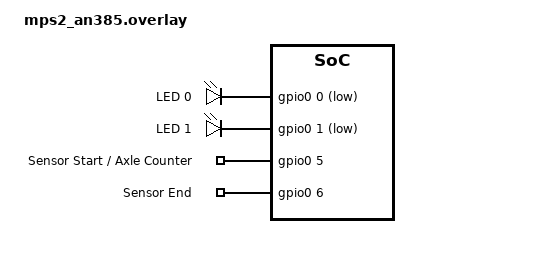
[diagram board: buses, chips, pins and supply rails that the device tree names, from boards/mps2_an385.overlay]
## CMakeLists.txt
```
# SPDX-License-Identifier: Apache-2.0

cmake_minimum_required(VERSION 3.20.0)

set(ZEPHYR_EXTRA_MODULES
    ${CMAKE_CURRENT_SOURCE_DIR}/camera_service
    CACHE STRING "" FORCE)

find_package(Zephyr REQUIRED HINTS $ENV{ZEPHYR_BASE})
project(atividades)

target_include_directories(app PRIVATE include)

target_sources(app PRIVATE 
    src/main.c
    src/sensor_thread.c
    src/display_thread.c
    src/traffic_sim.c
    src/utils.c
    src/infraction_log.c
)
```

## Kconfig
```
mainmenu "Radar Eletrônico com Classificação"

rsource "Kconfig.radar"
source "Kconfig.zephyr"
```

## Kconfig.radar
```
config RADAR_SENSOR_DISTANCE_MM
    int "Distance between sensors (mm)"
    default 5000
    help
      Distance between the two magnetic sensors in millimeters.

config RADAR_SPEED_LIMIT_LIGHT_KMH
    int "Speed limit for light vehicles (km/h)"
    default 60
    help
      Speed limit for vehicles classified as light.

config RADAR_SPEED_LIMIT_HEAVY_KMH
    int "Speed limit for heavy vehicles (km/h)"
    default 40
    help
      Speed limit for vehicles classified as heavy.

config RADAR_WARNING_THRESHOLD_PERCENT
    int "Warning threshold percentage"
    default 90
    range 0 100
    help
      Percentage of the speed limit that triggers a warning.

config RADAR_CAMERA_FAILURE_RATE_PERCENT
    int "Camera simulated failure rate (%)"
    default 10
    range 0 100
    help
      Probability of the simulated camera failing to read a plate.

config RADAR_QUEUE_DEPTH
    int "Message queue depth for radar queues"
    default 10
    range 1 128
    help
      Number of messages buffered in sensor and display queues.

config RADAR_INFRACTION_LOG_SIZE
    int "Ring buffer size for infractions"
    default 32
    range 1 512
    help
      Number of infraction records kept in memory.

config RADAR_AXLE_TIMEOUT_MS
    int "Axle counting timeout (ms)"
    default 1000
    range 100 10000
    help
      Timeout after last axle pulse to finalize a measurement.

config RADAR_TELEMETRY_INTERVAL_MS
    int "Telemetry logging interval (ms)"
    default 10000
    range 500 600000
    help
      Interval for periodic logging of counters and statistics.
```

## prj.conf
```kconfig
# General
CONFIG_LOG=y
CONFIG_LOG_MODE_IMMEDIATE=y
CONFIG_LOG_DEFAULT_LEVEL=3
CONFIG_MAIN_STACK_SIZE=4096
CONFIG_HEAP_MEM_POOL_SIZE=4096

# GPIO
CONFIG_GPIO=y

# Display
CONFIG_DISPLAY=y
CONFIG_DUMMY_DISPLAY=y

# ZBUS
CONFIG_ZBUS=y
CONFIG_ZBUS_LOG_LEVEL_INF=y
CONFIG_ZBUS_RUNTIME_OBSERVERS=y

# Random
CONFIG_TEST_RANDOM_GENERATOR=y

# Camera service
CONFIG_CAMERA_SERVICE=y

# Console/Printk
CONFIG_PRINTK=y
CONFIG_CBPRINTF_FP_SUPPORT=y

# Radar Project Configs
CONFIG_RADAR_SENSOR_DISTANCE_MM=5000
```

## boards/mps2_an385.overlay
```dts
#include <zephyr/dt-bindings/gpio/gpio.h>

/ {
    aliases {
        led0 = &led0;
		led1 = &led1;
        sensor0 = &sensor_start;
        sensor1 = &sensor_end;
    };

    leds {
		compatible = "gpio-leds";
		led0: led0 {
			gpios = <&gpio0 0 GPIO_ACTIVE_LOW>;
            label = "LED 0";
		};
		led1: led1 {
			gpios = <&gpio0 1 GPIO_ACTIVE_LOW>;
            label = "LED 1";
        };
    };

    /* Simulating sensors as buttons/keys for easy testing via QEMU monitor or just as GPIO inputs */
    gpio_keys {
        compatible = "gpio-keys";
        sensor_start: sensor_start {
            gpios = <&gpio0 5 GPIO_ACTIVE_HIGH>;
            label = "Sensor Start / Axle Counter";
        };
        sensor_end: sensor_end {
            gpios = <&gpio0 6 GPIO_ACTIVE_HIGH>;
            label = "Sensor End";
		};
    };

    dummy_display: dummy_display {
        compatible = "zephyr,dummy-dc";
        status = "okay";
        height = <20>;
        width = <20>;
	};
};
```

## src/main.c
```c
#include <zephyr/kernel.h>
#include <zephyr/logging/log.h>
#include <zephyr/zbus/zbus.h>
#include <string.h>
#include <zephyr/sys/atomic.h>
#include "common.h"
#include "threads.h"
#include <camera_service.h>
#include "infraction_log.h"

LOG_MODULE_REGISTER(main_control, LOG_LEVEL_INF);

/**
 * @brief Message Queue for Sensor Data
 */
K_MSGQ_DEFINE(sensor_msgq, sizeof(sensor_data_t), CONFIG_RADAR_QUEUE_DEPTH, 4); // Message Queue for Sensor Data

/**
 * @brief Message Queue for Display Data
 */
K_MSGQ_DEFINE(display_msgq, sizeof(display_data_t), CONFIG_RADAR_QUEUE_DEPTH, 4); // Message Queue for Display Data

/**
 * @brief Thread Definitions for Sensor, Display, and Camera
 */
K_THREAD_DEFINE(sensor_tid, 2048, sensor_thread_entry, NULL, NULL, NULL, 7, 0, 0);
K_THREAD_DEFINE(display_tid, 2048, display_thread_entry, NULL, NULL, NULL, 7, 0, 0);

/**
 * @brief Subscriber for Main Thread
 */
ZBUS_SUBSCRIBER_DEFINE(main_camera_sub, 4);

/**
 * @brief Telemetry Counters
 */
static atomic_t vehicle_light_count;
static atomic_t vehicle_heavy_count;
static atomic_t status_normal_count;
static atomic_t status_warning_count;
static atomic_t status_infraction_count;

/**
 * @brief Main entry point for the telemetry thread.
 * @param p1 Unused.
 * @param p2 Unused.
 * @param p3 Unused.
 */
static void telemetry_thread_entry(void *p1, void *p2, void *p3)
{
    ARG_UNUSED(p1);
    ARG_UNUSED(p2);
    ARG_UNUSED(p3);

	while (1) {
		k_msleep(CONFIG_RADAR_TELEMETRY_INTERVAL_MS);
        /* Get the telemetry counters */
		uint32_t light = (uint32_t)atomic_get(&vehicle_light_count);
		uint32_t heavy = (uint32_t)atomic_get(&vehicle_heavy_count);
		uint32_t normal = (uint32_t)atomic_get(&status_normal_count);
		uint32_t warn = (uint32_t)atomic_get(&status_warning_count);
		uint32_t infr = (uint32_t)atomic_get(&status_infraction_count);
		uint32_t inf_light = 0, inf_heavy = 0, valid_reads = 0, invalid_reads = 0;
		infraction_log_get_counters(&inf_light, &inf_heavy, &valid_reads, &invalid_reads);
		LOG_INF("Telemetry: Vehicles [Leve=%u, Pesado=%u] | Status [Normal=%u, Alerta=%u, Infracao=%u] | Camera [Validas=%u, Invalidas=%u]",
			light, heavy, normal, warn, infr, valid_reads, invalid_reads);
	}
}

/**
 * @brief Thread Definition for Telemetry
 */
K_THREAD_DEFINE(telemetry_tid, 1024, telemetry_thread_entry, NULL, NULL, NULL, 8, 0, 0);


/* > Pending Infraction Context */
typedef struct {
	bool active;
	int64_t timestamp_ms;
	uint32_t speed_kmh;
	uint32_t limit_kmh;
	vehicle_type_t type;
} pending_infraction_t;

static pending_infraction_t pending_infraction_ctx;

int main(void) {
    LOG_INF("Radar System Initializing...");

	/* Subscribe to the camera service event channel */
    zbus_chan_add_obs(&chan_camera_evt, &main_camera_sub, K_FOREVER);

    sensor_data_t s_data;
    const struct zbus_channel *chan;

    while (1) {
        if (k_msgq_get(&sensor_msgq, &s_data, K_NO_WAIT) == 0) {
            uint32_t distance_mm = CONFIG_RADAR_SENSOR_DISTANCE_MM;
            uint32_t speed_kmh = calculate_speed(distance_mm, s_data.duration_ms);


            uint32_t limit = (s_data.type == VEHICLE_LIGHT) ? 
                             CONFIG_RADAR_SPEED_LIMIT_LIGHT_KMH : 
                             CONFIG_RADAR_SPEED_LIMIT_HEAVY_KMH;
            
            display_status_t status = STATUS_NORMAL;
            if (speed_kmh > limit) {
                status = STATUS_INFRACTION;
            } else {
                uint32_t warning_thr = (limit * CONFIG_RADAR_WARNING_THRESHOLD_PERCENT) / 100;
                if (speed_kmh >= warning_thr) {
                    status = STATUS_WARNING;
                }
            }

            LOG_INF("Speed Calc: %d km/h (Limit: %d). Status: %d", speed_kmh, limit, status);

            display_data_t d_data;
            d_data.speed_kmh = speed_kmh;
            d_data.limit_kmh = limit;
            d_data.type = s_data.type;
            d_data.status = status;
            d_data.plate[0] = '\0';
            d_data.axle_count = s_data.axle_count;
            d_data.warning_kmh = (limit * CONFIG_RADAR_WARNING_THRESHOLD_PERCENT) / 100;

            if (s_data.type == VEHICLE_LIGHT) {
                atomic_inc(&vehicle_light_count);
            } else if (s_data.type == VEHICLE_HEAVY) {
                atomic_inc(&vehicle_heavy_count);
            }
            switch (status) {
                case STATUS_NORMAL: atomic_inc(&status_normal_count); break;
                case STATUS_WARNING: atomic_inc(&status_warning_count); break;
                case STATUS_INFRACTION: atomic_inc(&status_infraction_count); break;
            }

            /* Send the display data to the display queue */
            {
                int put_ret = k_msgq_put(&display_msgq, &d_data, K_NO_WAIT);
                if (put_ret != 0) {
                    display_data_t dropped;
                    (void)k_msgq_get(&display_msgq, &dropped, K_NO_WAIT);
                    put_ret = k_msgq_put(&display_msgq, &d_data, K_NO_WAIT);
                    if (put_ret != 0) {
                        LOG_WRN("display_msgq full, dropping update");
                    }
                }
            }

            if (status == STATUS_INFRACTION) {
                /* Record pending infraction context */
                pending_infraction_ctx.active = true;
                pending_infraction_ctx.timestamp_ms = k_uptime_get();
                pending_infraction_ctx.speed_kmh = speed_kmh;
                pending_infraction_ctx.limit_kmh = limit;
                pending_infraction_ctx.type = s_data.type;
                int cap_ret = camera_api_capture(K_MSEC(200));
                if (cap_ret != 0) {
                    LOG_WRN("camera_api_capture failed: %d", cap_ret);
                }
            }
        }

        /* Check for Camera Results */
        if (zbus_sub_wait(&main_camera_sub, &chan, K_NO_WAIT) == 0) {
			if (chan == &chan_camera_evt) {
                struct msg_camera_evt evt;
                if (zbus_chan_read(&chan_camera_evt, &evt, K_NO_WAIT) != 0) {
                    continue;
                }

                bool valid_capture = false;
                const char *plate = NULL;
                if (evt.type == MSG_CAMERA_EVT_TYPE_DATA && evt.captured_data) {
                    plate = evt.captured_data->plate;
                    if (plate != NULL && validate_plate(plate)) {
                        valid_capture = true;
                    }
                }

                if (valid_capture) {
                    LOG_INF("Valid Plate: %s. Infraction Recorded.", plate);
                    infraction_record_t rec = {
                        .timestamp_ms = pending_infraction_ctx.active ? pending_infraction_ctx.timestamp_ms : k_uptime_get(),
                        .type = pending_infraction_ctx.active ? pending_infraction_ctx.type : VEHICLE_UNKNOWN,
                        .speed_kmh = pending_infraction_ctx.active ? pending_infraction_ctx.speed_kmh : 0,
                        .limit_kmh = pending_infraction_ctx.active ? pending_infraction_ctx.limit_kmh : 0,
                        .valid_read = true
                    };
                    strncpy(rec.plate, plate, sizeof(rec.plate));
                    rec.plate[sizeof(rec.plate)-1] = '\0';
                    infraction_log_add(&rec);

                    display_data_t d_data;
                    d_data.speed_kmh = pending_infraction_ctx.active ? pending_infraction_ctx.speed_kmh : 0;
                    d_data.limit_kmh = pending_infraction_ctx.active ? pending_infraction_ctx.limit_kmh : 0;
                    d_data.type = pending_infraction_ctx.active ? pending_infraction_ctx.type : VEHICLE_UNKNOWN;
                    d_data.status = STATUS_INFRACTION;
                    d_data.axle_count = 0;
                    d_data.warning_kmh = (d_data.limit_kmh * CONFIG_RADAR_WARNING_THRESHOLD_PERCENT) / 100;
                    strncpy(d_data.plate, plate, sizeof(d_data.plate));
                    d_data.plate[sizeof(d_data.plate)-1] = '\0';
                    int put_ret = k_msgq_put(&display_msgq, &d_data, K_NO_WAIT);
                    if (put_ret != 0) {
                        display_data_t dropped;
                        (void)k_msgq_get(&display_msgq, &dropped, K_NO_WAIT);
                        put_ret = k_msgq_put(&display_msgq, &d_data, K_NO_WAIT);
                        if (put_ret != 0) {
                            LOG_WRN("display_msgq full, dropping update");
                        }
                    }
                    pending_infraction_ctx.active = false;

                } else {
                    LOG_WRN("Invalid Plate or camera error");
                    infraction_record_t rec = {
                        .timestamp_ms = pending_infraction_ctx.active ? pending_infraction_ctx.timestamp_ms : k_uptime_get(),
                        .type = pending_infraction_ctx.active ? pending_infraction_ctx.type : VEHICLE_UNKNOWN,
                        .speed_kmh = pending_infraction_ctx.active ? pending_infraction_ctx.speed_kmh : 0,
                        .limit_kmh = pending_infraction_ctx.active ? pending_infraction_ctx.limit_kmh : 0,
                        .valid_read = false
                    };
                    rec.plate[0] = '\0';
                    infraction_log_add(&rec);

                    display_data_t d_data;
                    d_data.speed_kmh = pending_infraction_ctx.active ? pending_infraction_ctx.speed_kmh : 0;
                    d_data.limit_kmh = pending_infraction_ctx.active ? pending_infraction_ctx.limit_kmh : 0;
                    d_data.type = pending_infraction_ctx.active ? pending_infraction_ctx.type : VEHICLE_UNKNOWN;
                    d_data.status = STATUS_INFRACTION;
                    d_data.axle_count = 0;
                    d_data.warning_kmh = (d_data.limit_kmh * CONFIG_RADAR_WARNING_THRESHOLD_PERCENT) / 100;
                    d_data.plate[0] = '\0';
                    int put_ret = k_msgq_put(&display_msgq, &d_data, K_NO_WAIT);
                    if (put_ret != 0) {
                        display_data_t dropped;
                        (void)k_msgq_get(&display_msgq, &dropped, K_NO_WAIT);
                        put_ret = k_msgq_put(&display_msgq, &d_data, K_NO_WAIT);
                        if (put_ret != 0) {
                            LOG_WRN("display_msgq full, dropping update");
                        }
                    }
                    pending_infraction_ctx.active = false;
                }
            }
        }

        k_msleep(10);
    }
    return 0;
}
```

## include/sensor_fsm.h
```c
#ifndef SENSOR_FSM_H
#define SENSOR_FSM_H
#include <zephyr/kernel.h>
#include "common.h"

/* > Heuristics for dynamic axle window calculation */
#define SENSOR_FSM_MIN_AXLE_WINDOW_MS   200U
#define SENSOR_FSM_MAX_AXLE_WINDOW_MS   4000U
#define SENSOR_FSM_REFERENCE_SPEED_KMH  CONFIG_RADAR_SPEED_LIMIT_LIGHT_KMH

enum sensor_state {
    SENSOR_IDLE,
    SENSOR_ACTIVE
};

/* > Sensor FSM */
struct sensor_fsm {
    enum sensor_state state;
    int64_t start_time;
    int64_t end_time;
    uint32_t axle_count;
    bool speed_measured;
    uint32_t axle_window_ms;
};

typedef struct sensor_fsm sensor_fsm_t;

/**
 * @brief Classifies the vehicle type based on the number of axles.
 * @param axle_count The number of axles.
 * @return The vehicle type.
 */
static inline vehicle_type_t classify_axles(uint32_t axle_count)
{
    return (axle_count <= 2) ? VEHICLE_LIGHT : VEHICLE_HEAVY;
}

/**
 * @brief Initializes the sensor FSM.
 * @param fsm Pointer to the sensor FSM.
 */
static inline void sensor_fsm_init(struct sensor_fsm *fsm)
{
    fsm->state = SENSOR_IDLE;
    fsm->start_time = 0;
    fsm->end_time = 0;
    fsm->axle_count = 0;
    fsm->speed_measured = false;
    fsm->axle_window_ms = CONFIG_RADAR_AXLE_TIMEOUT_MS;
}

/**
 * @brief Handles the start of a sensor measurement.
 * @param fsm Pointer to the sensor FSM.
 * @param timestamp_ms The timestamp of the start of the measurement.
 */
static inline uint32_t sensor_fsm_get_axle_window_ms(const struct sensor_fsm *fsm)
{
    return fsm->axle_window_ms;
}

static inline uint32_t sensor_fsm_compute_axle_window(uint32_t speed_kmh)
{
    if (speed_kmh == 0U) {
        return CONFIG_RADAR_AXLE_TIMEOUT_MS;
    }

    uint64_t scaled = (uint64_t)CONFIG_RADAR_AXLE_TIMEOUT_MS *
                      (uint64_t)SENSOR_FSM_REFERENCE_SPEED_KMH;
    uint64_t window_ms = scaled / speed_kmh;

    if (window_ms < SENSOR_FSM_MIN_AXLE_WINDOW_MS) {
        window_ms = SENSOR_FSM_MIN_AXLE_WINDOW_MS;
    } else if (window_ms > SENSOR_FSM_MAX_AXLE_WINDOW_MS) {
        window_ms = SENSOR_FSM_MAX_AXLE_WINDOW_MS;
    }

    return (uint32_t)window_ms;
}

static inline void sensor_fsm_handle_start(struct sensor_fsm *fsm, int64_t timestamp_ms)
{
    if (fsm->state == SENSOR_IDLE) {
        fsm->state = SENSOR_ACTIVE;
        fsm->start_time = timestamp_ms;
        fsm->end_time = 0;
        fsm->axle_count = 1;
        fsm->speed_measured = false;
    } else {
        fsm->axle_count++;
    }
}

/**
 * @brief Handles the end of a sensor measurement.
 * @param fsm Pointer to the sensor FSM.
 * @param timestamp_ms The timestamp of the end of the measurement.
 */
static inline bool sensor_fsm_handle_end(struct sensor_fsm *fsm, int64_t timestamp_ms)
{
    if (fsm->state == SENSOR_ACTIVE && !fsm->speed_measured) {
        fsm->end_time = timestamp_ms;
        fsm->speed_measured = true;
        uint32_t duration_ms = (uint32_t)(fsm->end_time - fsm->start_time);
        uint32_t speed_kmh = calculate_speed(CONFIG_RADAR_SENSOR_DISTANCE_MM, duration_ms);
        fsm->axle_window_ms = sensor_fsm_compute_axle_window(speed_kmh);
        return true;
    }
    return false;
}

/**
 * @brief Finalizes the sensor measurement.
 * @param fsm Pointer to the sensor FSM.
 * @param out_data Pointer to the sensor data.
 * @return True if the measurement was finalized, false otherwise.
 */
static inline bool sensor_fsm_finalize(struct sensor_fsm *fsm, sensor_data_t *out_data)
{
    if (fsm->state != SENSOR_ACTIVE) {
        return false;
    }
    bool produced = false;
    
    if (fsm->speed_measured && fsm->end_time > fsm->start_time) {
        out_data->timestamp_start = fsm->start_time;
        out_data->timestamp_end = fsm->end_time;
        out_data->duration_ms = (uint32_t)(fsm->end_time - fsm->start_time);
        out_data->axle_count = fsm->axle_count;
        out_data->type = classify_axles(fsm->axle_count);
        produced = true;
    }
    
    /* Reset to idle regardless, end of measurement window */
    fsm->state = SENSOR_IDLE;
    fsm->start_time = 0;
    fsm->end_time = 0;
    fsm->axle_count = 0;
    fsm->speed_measured = false;
    fsm->axle_window_ms = CONFIG_RADAR_AXLE_TIMEOUT_MS;
    return produced;
}
#endif
```

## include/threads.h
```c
#ifndef THREADS_H
#define THREADS_H

/**
 * @brief Entry point for the sensor thread.
 * @param p1 Pointer to the sensor thread data.
 * @param p2 Pointer to the sensor thread data.
 * @param p3 Pointer to the sensor thread data.
 */
void sensor_thread_entry(void *p1, void *p2, void *p3);

/**
 * @brief Entry point for the display thread.
 * @param p1 Pointer to the display thread data.
 * @param p2 Pointer to the display thread data.
 * @param p3 Pointer to the display thread data.
 */
void display_thread_entry(void *p1, void *p2, void *p3);

#endif
```

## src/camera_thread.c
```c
#include <zephyr/kernel.h>
#include <zephyr/logging/log.h>
#include <zephyr/random/random.h>
#include <zephyr/sys/util.h>
#include <zephyr/zbus/zbus.h>
#include "common.h"

/**
 * @brief Log Module for Camera Thread
 */
LOG_MODULE_REGISTER(camera_thread, LOG_LEVEL_INF);

/**
 * @brief ZBUS Subscriber for Camera Trigger Channel
 */
ZBUS_SUBSCRIBER_DEFINE(camera_sub, 4);

/**
 * @brief Generates a random Mercosul Plate Number.
 * @param buf The buffer to store the Mercosul Plate Number.
 */
static void generate_plate(char *buf) {
    const char letters[] = "ABCDEFGHIJKLMNOPQRSTUVWXYZ";
    const char numbers[] = "0123456789";
#if IS_ENABLED(CONFIG_TEST)
    /* Deterministic RNG for tests */
    static uint32_t rng_state = 0x12345678u;
    static inline uint32_t rand32_local(void) {
        /* xorshift32 */
        uint32_t x = rng_state;
        x ^= x << 13;
        x ^= x >> 17;
        x ^= x << 5;
        rng_state = x;
        return x;
    }
#define RAND32() rand32_local()
#else
#define RAND32() sys_rand32_get()
#endif
    
    int country_mode = RAND32() % 4; // 0=BR, 1=AR, 2=UY, 3=PY

    if (country_mode == 0) {
        buf[0] = letters[RAND32() % 26];
        buf[1] = letters[RAND32() % 26];
        buf[2] = letters[RAND32() % 26];
        buf[3] = numbers[RAND32() % 10];
        buf[4] = letters[RAND32() % 26];
        buf[5] = numbers[RAND32() % 10];
        buf[6] = numbers[RAND32() % 10];
    } else if (country_mode == 1) {
        buf[0] = letters[RAND32() % 26];
        buf[1] = letters[RAND32() % 26];
        buf[2] = numbers[RAND32() % 10];
        buf[3] = numbers[RAND32() % 10];
        buf[4] = numbers[RAND32() % 10];
        buf[5] = letters[RAND32() % 26];
        buf[6] = letters[RAND32() % 26];
    } else if (country_mode == 2) {
        buf[0] = letters[RAND32() % 26];
        buf[1] = letters[RAND32() % 26];
        buf[2] = letters[RAND32() % 26];
        buf[3] = numbers[RAND32() % 10];
        buf[4] = numbers[RAND32() % 10];
        buf[5] = numbers[RAND32() % 10];
        buf[6] = numbers[RAND32() % 10];
    } else {
        buf[0] = letters[RAND32() % 26];
        buf[1] = letters[RAND32() % 26];
        buf[2] = letters[RAND32() % 26];
        buf[3] = letters[RAND32() % 26];
        buf[4] = numbers[RAND32() % 10];
        buf[5] = numbers[RAND32() % 10];
        buf[6] = numbers[RAND32() % 10];
    }
    buf[7] = '\0';
}

/**
 * @brief Main entry point for the camera thread.
 * @param p1 Unused.
 * @param p2 Unused.
 * @param p3 Unused.
 */
void camera_thread_entry(void *p1, void *p2, void *p3) {

    ARG_UNUSED(p1);
    ARG_UNUSED(p2);
    ARG_UNUSED(p3);

    const struct zbus_channel *chan;
    
    zbus_chan_add_obs(&camera_trigger_chan, &camera_sub, K_FOREVER);

    LOG_INF("Camera System Ready");

    while (1) {
        /* Wait for a trigger from the sensor thread */
        if (zbus_sub_wait(&camera_sub, &chan, K_FOREVER) == 0) {
            if (chan == &camera_trigger_chan) {
                camera_trigger_t trigger;
                zbus_chan_read(&camera_trigger_chan, &trigger, K_NO_WAIT);
                
                LOG_INF("Camera Triggered! Processing...");
                
                /* Simulate processing time */
                k_msleep(500); 
                
                camera_result_t result;
                /* Generate a random failure rate */
                uint32_t failure_rate = CONFIG_RADAR_CAMERA_FAILURE_RATE_PERCENT;
                uint32_t chance = sys_rand32_get() % 100;
                
                if (chance < failure_rate) {
                    LOG_WRN("Camera simulation: Read Failed");
                    result.valid_read = false;
                    result.plate[0] = '\0';
                } else {
                    generate_plate(result.plate);
                    result.valid_read = true;
                    LOG_INF("Camera Result: %s", result.plate);
                }

                /* Publish the result to the camera result channel */
                int pub_ret = zbus_chan_pub(&camera_result_chan, &result, K_NO_WAIT);
                if (pub_ret != 0) {
                    LOG_WRN("ZBUS publish to camera_result_chan failed: %d", pub_ret);
                }
            }
        }
    }
}
```

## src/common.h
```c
#ifndef COMMON_H
#define COMMON_H

#include <zephyr/kernel.h>
#include <zephyr/zbus/zbus.h>

/* > Vehicle Types */
typedef enum {
    VEHICLE_LIGHT,
    VEHICLE_HEAVY,
    VEHICLE_UNKNOWN
} vehicle_type_t;

/* > Data from Sensor Thread to Main Thread */
typedef struct {
    int64_t timestamp_start;
    int64_t timestamp_end;
    uint32_t duration_ms;
    uint32_t axle_count;
    vehicle_type_t type;
} sensor_data_t;

/* > Display Status */
typedef enum {
    STATUS_NORMAL,
    STATUS_WARNING,
    STATUS_INFRACTION
} display_status_t;

/* > Data for Display */
typedef struct {
    uint32_t speed_kmh;
    uint32_t limit_kmh;
    vehicle_type_t type;
    display_status_t status;
    char plate[10];
    uint32_t axle_count;
    uint32_t warning_kmh;
} display_data_t;

/* > ZBUS: Camera Trigger */
typedef struct {
    uint32_t speed_kmh;
    vehicle_type_t type;
} camera_trigger_t;

/* > ZBUS: Camera Result */
typedef struct {
    char plate[10];
    bool valid_read; // If the camera successfully read a plate
} camera_result_t;

/**
 * @brief ZBUS Channels for Camera Trigger and Result
 */
ZBUS_CHAN_DECLARE(camera_trigger_chan);
ZBUS_CHAN_DECLARE(camera_result_chan);

/**
 * @brief Message Queues for Sensor and Display
 */
extern struct k_msgq sensor_msgq;
extern struct k_msgq display_msgq;

/**
 * @brief Helper functions for Validation and Speed Calculation
 */
bool validate_plate(const char *plate);

/**
 * @brief Calculates the Speed in km/h based on the distance and duration.
 * @param distance_mm The distance in millimeters.
 * @param duration_ms The duration in milliseconds.
 * @return The Speed in km/h.
 */
uint32_t calculate_speed(uint32_t distance_mm, uint32_t duration_ms);

#endif
```

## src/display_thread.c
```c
#include <zephyr/kernel.h>
#include <zephyr/logging/log.h>
#include <zephyr/drivers/display.h>
#include "common.h"

LOG_MODULE_REGISTER(display_thread, LOG_LEVEL_INF);

#define ANSI_COLOR_RED     "\x1b[31m"
#define ANSI_COLOR_GREEN   "\x1b[32m"
#define ANSI_COLOR_YELLOW  "\x1b[33m"
#define ANSI_COLOR_RESET   "\x1b[0m"

/**
 * @brief Main entry point for the display thread.
 * @param p1 Unused.
 * @param p2 Unused.
 * @param p3 Unused.
 */
void display_thread_entry(void *p1, void *p2, void *p3) {

    ARG_UNUSED(p1);
    ARG_UNUSED(p2);
    ARG_UNUSED(p3);

    const struct device *display_dev = DEVICE_DT_GET(DT_NODELABEL(dummy_display));

    if (!device_is_ready(display_dev)) {
        LOG_WRN("Dummy Display not ready, proceeding with console only");
    } else {
        LOG_INF("Dummy Display Initialized");
        display_blanking_off(display_dev);
    }

    display_data_t data;

    while (1) {
        /* Wait for a message from the display queue */
        if (k_msgq_get(&display_msgq, &data, K_FOREVER) == 0) {
            const char *color = ANSI_COLOR_RESET;
            const char *status_str = "UNKNOWN";

            switch (data.status) {
                case STATUS_NORMAL:
                    color = ANSI_COLOR_GREEN;
                    status_str = "NORMAL";
                    break;
                case STATUS_WARNING:
                    color = ANSI_COLOR_YELLOW;
                    status_str = "WARNING";
                    break;
                case STATUS_INFRACTION:
                    color = ANSI_COLOR_RED;
                    status_str = "INFRACTION";
                    break;
            }

            printk("\n%s========================================%s\n", color, ANSI_COLOR_RESET);
            printk("%s RADAR STATUS: %s %s\n", color, status_str, ANSI_COLOR_RESET);
            if (data.limit_kmh > 0) {
                printk(" Velocidade: %d km/h\n", data.speed_kmh);
                printk(" Limite: %d km/h (Alerta \xE2\x89\xA5 %d km/h)\n", data.limit_kmh, data.warning_kmh);
            } else {
                printk(" Velocidade: %d km/h\n", data.speed_kmh);
                printk(" Limite: %d km/h\n", data.limit_kmh);
            }
            {
                const char *tipo = "Desconhecido";
                switch (data.type) {
                    case VEHICLE_LIGHT: tipo = "Leve"; break;
                    case VEHICLE_HEAVY: tipo = "Pesado"; break;
                    case VEHICLE_UNKNOWN: default: tipo = "Desconhecido"; break;
                }
                printk(" Veiculo: %s", tipo);
            }
            if (data.axle_count > 0) {
                printk(" (Eixos: %d)", data.axle_count);
            }
            printk("\n");
            
            if (data.plate[0] != '\0') {
                printk(" Placa: %s\n", data.plate);
            }
            printk("%s========================================%s\n\n", color, ANSI_COLOR_RESET);
        }
    }
}
```

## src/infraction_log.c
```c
#include "infraction_log.h"
#include <string.h>

#ifndef CONFIG_RADAR_INFRACTION_LOG_SIZE
#define CONFIG_RADAR_INFRACTION_LOG_SIZE 32
#endif

static infraction_record_t records[CONFIG_RADAR_INFRACTION_LOG_SIZE];
static size_t head_index;
static size_t total_count;
static uint32_t count_light;
static uint32_t count_heavy;
static uint32_t count_valid_read;
static uint32_t count_invalid_read;
static struct k_spinlock log_lock;

/**
 * @brief Adds an infraction record to the log.
 * @param record The infraction record to add.
 */
void infraction_log_add(const infraction_record_t *record)
{
    k_spinlock_key_t key = k_spin_lock(&log_lock);
   
    /* Add the record to the log */
    records[head_index] = *record;
    head_index = (head_index + 1) % CONFIG_RADAR_INFRACTION_LOG_SIZE;
    if (total_count < CONFIG_RADAR_INFRACTION_LOG_SIZE) {
        total_count++;
    }
    if (record->type == VEHICLE_HEAVY) {
        count_heavy++;
    } else if (record->type == VEHICLE_LIGHT) {
   	count_light++;
    }
    if (record->valid_read) {
        count_valid_read++;
    } else {
        count_invalid_read++;
    }
   
    k_spin_unlock(&log_lock, key);
}

/**
 * @brief Gets the most recent infraction records from the log.
 * @param max_records The maximum number of records to get.
 * @param out_records The array to store the records.
 * @return The number of records copied.
 */
size_t infraction_log_get_recent(size_t max_records, infraction_record_t *out_records)
{
    if (max_records == 0 || out_records == NULL) {
        return 0;
    }

    k_spinlock_key_t key = k_spin_lock(&log_lock);
   
    size_t available = total_count;
    if (available > CONFIG_RADAR_INFRACTION_LOG_SIZE) {
        available = CONFIG_RADAR_INFRACTION_LOG_SIZE;
    }
    /* Set the to copy to the max records if the max records is less than the available */
    size_t to_copy = (max_records < available) ? max_records : available;
    
    /* Copy from newest to oldest into out_records[0..to_copy-1] */
    for (size_t i = 0; i < to_copy; i++) {
        size_t idx = (head_index + CONFIG_RADAR_INFRACTION_LOG_SIZE - 1 - i) % CONFIG_RADAR_INFRACTION_LOG_SIZE;
        out_records[i] = records[idx];
    }
   
    k_spin_unlock(&log_lock, key);
    return to_copy;
}

/**
 * @brief Gets the counters for the infraction log.
 * @param light_count The count of light vehicles.
 * @param heavy_count Pointer to the count of heavy vehicles.
 * @param valid_reads Pointer to the count of valid reads.
 * @param invalid_reads Pointer to the count of invalid reads.
 */
void infraction_log_get_counters(uint32_t *light_count, uint32_t *heavy_count, uint32_t *valid_reads, uint32_t *invalid_reads)
{
    k_spinlock_key_t key = k_spin_lock(&log_lock);
    if (light_count) {
        *light_count = count_light;
    }
    if (heavy_count) {
        *heavy_count = count_heavy;
    }
    if (valid_reads) {
        *valid_reads = count_valid_read;
    }
    if (invalid_reads) {
        *invalid_reads = count_invalid_read;
    }
    k_spin_unlock(&log_lock, key);
}
```

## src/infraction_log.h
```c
#ifndef INFRACTION_LOG_H
#define INFRACTION_LOG_H
#include <zephyr/kernel.h>
#include "common.h"

/* > Infraction Record */
typedef struct infraction_record {
    int64_t timestamp_ms;
    vehicle_type_t type;
    uint32_t speed_kmh;
    uint32_t limit_kmh;
    bool valid_read;
    char plate[10];
} infraction_record_t;

/**
 * @brief Adds an infraction record to the log.
 * @param record The infraction record to add.
 */
void infraction_log_add(const infraction_record_t *record);

/**
 * @brief Gets the most recent infraction records from the log.
 * @param max_records The maximum number of records to get.
 * @param out_records The array to store the records.
 * @return The number of records copied.
 */
size_t infraction_log_get_recent(size_t max_records, infraction_record_t *out_records);

/**
 * @brief Gets the counters for the infraction log.
 * @param light_count The count of light vehicles.
 * @param heavy_count The count of heavy vehicles.
 * @param valid_reads The count of valid reads.
 * @param invalid_reads The count of invalid reads.
 */
void infraction_log_get_counters(uint32_t *light_count, uint32_t *heavy_count, uint32_t *valid_reads, uint32_t *invalid_reads);

#endif
```

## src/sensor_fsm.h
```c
#ifndef SENSOR_FSM_H
#define SENSOR_FSM_H
#include <zephyr/kernel.h>
#include "common.h"

enum sensor_state {
    SENSOR_IDLE,
    SENSOR_ACTIVE
};

struct sensor_fsm {
    enum sensor_state state;
    int64_t start_time;
    int64_t end_time;
    uint32_t axle_count;
    bool speed_measured;
};

typedef struct sensor_fsm sensor_fsm_t;

/**
 * Classifies the vehicle type based on the number of axles.
 * @param axle_count The number of axles.
 * @return The vehicle type.
 */
static inline vehicle_type_t classify_axles(uint32_t axle_count)
{
    return (axle_count <= 2) ? VEHICLE_LIGHT : VEHICLE_HEAVY;
}

/**
 * Initializes the sensor FSM.
 * @param fsm Pointer to the sensor FSM.
 */
static inline void sensor_fsm_init(struct sensor_fsm *fsm)
{
    fsm->state = SENSOR_IDLE;
    fsm->start_time = 0;
    fsm->end_time = 0;
    fsm->axle_count = 0;
    fsm->speed_measured = false;
}

/**
 * Handles the start of a sensor measurement.
 * @param fsm Pointer to the sensor FSM.
 * @param timestamp_ms The timestamp of the start of the measurement.
 */
static inline void sensor_fsm_handle_start(struct sensor_fsm *fsm, int64_t timestamp_ms)
{
    if (fsm->state == SENSOR_IDLE) {
        fsm->state = SENSOR_ACTIVE;
        fsm->start_time = timestamp_ms;
        fsm->end_time = 0;
        fsm->axle_count = 1;
        fsm->speed_measured = false;
    } else {
        fsm->axle_count++;
    }
}

/**
 * Handles the end of a sensor measurement.
 * @param fsm Pointer to the sensor FSM.
 * @param timestamp_ms The timestamp of the end of the measurement.
 */
static inline void sensor_fsm_handle_end(struct sensor_fsm *fsm, int64_t timestamp_ms)
{
    if (fsm->state == SENSOR_ACTIVE && !fsm->speed_measured) {
        fsm->end_time = timestamp_ms;
        fsm->speed_measured = true;
    }
}

/**
 * Finalizes the sensor measurement.
 * @param fsm Pointer to the sensor FSM.
 * @param out_data Pointer to the sensor data.
 * @return True if the measurement was finalized, false otherwise.
 */
static inline bool sensor_fsm_finalize(struct sensor_fsm *fsm, sensor_data_t *out_data)
{
    if (fsm->state != SENSOR_ACTIVE) {
        return false;
    }
    bool produced = false;
    
    if (fsm->speed_measured && fsm->end_time > fsm->start_time) {
        out_data->timestamp_start = fsm->start_time;
        out_data->timestamp_end = fsm->end_time;
        out_data->duration_ms = (uint32_t)(fsm->end_time - fsm->start_time);
        out_data->axle_count = fsm->axle_count;
        out_data->type = classify_axles(fsm->axle_count);
        produced = true;
    }
    
    /* Reset to idle regardless, end of measurement window */
    fsm->state = SENSOR_IDLE;
    fsm->start_time = 0;
    fsm->end_time = 0;
    fsm->axle_count = 0;
    fsm->speed_measured = false;
    return produced;
}
#endif
```

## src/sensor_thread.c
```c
#include <zephyr/kernel.h>
#include <zephyr/drivers/gpio.h>
#include <zephyr/logging/log.h>
#include "common.h"
#include "sensor_fsm.h"

LOG_MODULE_REGISTER(sensor_thread, LOG_LEVEL_INF);

/**
 * @brief Get GPIOs from aliases
 */
static const struct gpio_dt_spec sensor_start_spec = GPIO_DT_SPEC_GET(DT_ALIAS(sensor0), gpios);
static const struct gpio_dt_spec sensor_end_spec = GPIO_DT_SPEC_GET(DT_ALIAS(sensor1), gpios);

/* > FSM + lock */
static sensor_fsm_t fsm;
static struct k_spinlock fsm_lock;

static struct k_timer axle_timer;
/**
 * Timer expiry callback for the axle counting timeout.
 * @param timer_id Pointer to the timer.
 */
static void axle_timer_expiry(struct k_timer *timer_id);

/**
 * @brief GPIO Callbacks
 */
static struct gpio_callback start_cb_data;
static struct gpio_callback end_cb_data;

/**
 * @brief Start interrupt service routine for the sensor.
 * @param dev Pointer to the device.
 * @param cb Pointer to the callback.
 * @param pins Pins that triggered the interrupt.
 */
static void start_isr(const struct device *dev, struct gpio_callback *cb, uint32_t pins) {
    int64_t now = k_uptime_get();
    k_spinlock_key_t key = k_spin_lock(&fsm_lock);
    sensor_fsm_handle_start(&fsm, now);
    uint32_t window_ms = sensor_fsm_get_axle_window_ms(&fsm);
    k_spin_unlock(&fsm_lock, key);
    /* Start or refresh timeout timer (configurable) */
    k_timer_start(&axle_timer, K_MSEC(window_ms), K_NO_WAIT);
}

/**
 * @brief End interrupt service routine for the sensor.
 * @param dev Pointer to the device.
 * @param cb Pointer to the callback.
 * @param pins Pins that triggered the interrupt.
 */
static void end_isr(const struct device *dev, struct gpio_callback *cb, uint32_t pins) {
    int64_t now = k_uptime_get();
    k_spinlock_key_t key = k_spin_lock(&fsm_lock);
    bool window_updated = sensor_fsm_handle_end(&fsm, now);
    uint32_t window_ms = sensor_fsm_get_axle_window_ms(&fsm);
    k_spin_unlock(&fsm_lock, key);
    if (window_updated) {
        k_timer_start(&axle_timer, K_MSEC(window_ms), K_NO_WAIT);
    }
}

/**
 * @brief Timer expiry callback for the axle counting timeout.
 * @param timer_id Pointer to the timer.
 */
static void axle_timer_expiry(struct k_timer *timer_id) {
    /* Timeout reached, check if we can finalize a measurement */
    sensor_data_t data;
    bool produced = false;
    k_spinlock_key_t key = k_spin_lock(&fsm_lock);
    produced = sensor_fsm_finalize(&fsm, &data);
    k_spin_unlock(&fsm_lock, key);

    if (produced) {
        LOG_INF("Vehicle Detected: Axles=%d, Time=%d ms, Type=%s", 
                data.axle_count, data.duration_ms, 
                data.type == VEHICLE_LIGHT ? "Light" : "Heavy");
        int ret = k_msgq_put(&sensor_msgq, &data, K_NO_WAIT);
        if (ret != 0) {
            /* Drop oldest and retry once */
            sensor_data_t dropped;
            (void)k_msgq_get(&sensor_msgq, &dropped, K_NO_WAIT);
            ret = k_msgq_put(&sensor_msgq, &data, K_NO_WAIT);
            if (ret != 0) {
                LOG_WRN("sensor_msgq full, dropping measurement");
            }
        }
    } else {
        LOG_WRN("Measurement window ended without valid timing. Ignored.");
    }
}

/**
 * @brief Main entry point for the sensor thread.
 * @param p1 Unused.
 * @param p2 Unused.
 * @param p3 Unused.
 */
void sensor_thread_entry(void *p1, void *p2, void *p3) {

    ARG_UNUSED(p1);
    ARG_UNUSED(p2);
    ARG_UNUSED(p3);

    int ret;

    sensor_fsm_init(&fsm);

    /* Check if the start sensor is ready */
    if (!gpio_is_ready_dt(&sensor_start_spec)) {
        LOG_ERR("Sensor Start GPIO not ready");
        return;
    }

    /* Check if the end sensor is ready */
    if (!gpio_is_ready_dt(&sensor_end_spec)) {
        LOG_ERR("Sensor End GPIO not ready");
        return;
    }

    /* Configure the start sensor as input */
    ret = gpio_pin_configure_dt(&sensor_start_spec, GPIO_INPUT);
    if (ret < 0) {
        LOG_ERR("Error configuring sensor start: %d", ret);
        return;
    }

    /* Configure the end sensor as input */
    ret = gpio_pin_configure_dt(&sensor_end_spec, GPIO_INPUT);
    if (ret < 0) {
        LOG_ERR("Error configuring sensor end: %d", ret);
        return;
    }

    /* Configure the start sensor as interrupt */
    ret = gpio_pin_interrupt_configure_dt(&sensor_start_spec, GPIO_INT_EDGE_RISING);
    if (ret < 0) {
        LOG_ERR("Error configuring interrupt start: %d", ret);
        return;
    }

    /* Configure the end sensor as interrupt */
    ret = gpio_pin_interrupt_configure_dt(&sensor_end_spec, GPIO_INT_EDGE_RISING);
    if (ret < 0) {
        LOG_ERR("Error configuring interrupt end: %d", ret);
        return;
    }

    /* Initialize the start callback */
    gpio_init_callback(&start_cb_data, start_isr, BIT(sensor_start_spec.pin));
    gpio_add_callback(sensor_start_spec.port, &start_cb_data);

    /* Initialize the end callback */
    gpio_init_callback(&end_cb_data, end_isr, BIT(sensor_end_spec.pin));
    gpio_add_callback(sensor_end_spec.port, &end_cb_data);
    
    k_timer_init(&axle_timer, axle_timer_expiry, NULL);

    LOG_INF("Sensor Thread Initialized");

    while (1) {
        k_sleep(K_FOREVER);
    }
}
```

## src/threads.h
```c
#ifndef THREADS_H
#define THREADS_H

/**
 * @brief Entry point for the sensor thread.
 * @param p1 Pointer to the sensor thread data.
 * @param p2 Pointer to the sensor thread data.
 * @param p3 Pointer to the sensor thread data.
 */
void sensor_thread_entry(void *p1, void *p2, void *p3);

/**
 * @brief Entry point for the display thread.
 * @param p1 Pointer to the display thread data.
 * @param p2 Pointer to the display thread data.
 * @param p3 Pointer to the display thread data.
 */
void display_thread_entry(void *p1, void *p2, void *p3);

/**
 * @brief Entry point for the camera thread.
 * @param p1 Pointer to the camera thread data.
 * @param p2 Pointer to the camera thread data.
 * @param p3 Pointer to the camera thread data.
 */
void camera_thread_entry(void *p1, void *p2, void *p3);

#endif
```

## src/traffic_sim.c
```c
#include <zephyr/kernel.h>
#include <zephyr/logging/log.h>
#include <zephyr/drivers/gpio.h>

LOG_MODULE_REGISTER(traffic_sim, LOG_LEVEL_INF);

#include "common.h"

/**
 * @brief Main entry point for the traffic simulator thread.
 * @param p1 Unused.
 * @param p2 Unused.
 * @param p3 Unused.
 */
void traffic_sim_thread_entry(void *p1, void *p2, void *p3) {
    ARG_UNUSED(p1);
    ARG_UNUSED(p2);
    ARG_UNUSED(p3);
    LOG_INF("Traffic Simulator Started (Auto-generating vehicles every 10s)");

    k_sleep(K_SECONDS(2));

    while (1) {
        sensor_data_t s_data;

        /* 1. Simulate a Light Vehicle (Normal Speed) */
        s_data.timestamp_start = k_uptime_get();
        s_data.duration_ms = 360; 
        s_data.timestamp_end = s_data.timestamp_start + 360;
        s_data.axle_count = 2;
        s_data.type = VEHICLE_LIGHT;
        
        LOG_INF("SIMULATION: Generating Light Vehicle (50 km/h)");
        k_msgq_put(&sensor_msgq, &s_data, K_NO_WAIT);
        
        k_sleep(K_SECONDS(10));

        /* 1b. Simulate a Light Vehicle in WARNING band (~58 km/h) */
        s_data.timestamp_start = k_uptime_get();
        s_data.duration_ms = 310;
        s_data.timestamp_end = s_data.timestamp_start + 310;
        s_data.axle_count = 2;
        s_data.type = VEHICLE_LIGHT;

        LOG_INF("SIMULATION: Generating Light Vehicle (58 km/h - Warning)");
        k_msgq_put(&sensor_msgq, &s_data, K_NO_WAIT);

        k_sleep(K_SECONDS(10));

        /* 2. Simulate a Heavy Vehicle (Infraction) */
        s_data.timestamp_start = k_uptime_get();
        s_data.duration_ms = 360; 
        s_data.timestamp_end = s_data.timestamp_start + 360;
        s_data.axle_count = 3;
        s_data.type = VEHICLE_HEAVY;

        LOG_INF("SIMULATION: Generating Heavy Vehicle (50 km/h - Infraction!)");
        k_msgq_put(&sensor_msgq, &s_data, K_NO_WAIT);

        k_sleep(K_SECONDS(10));
        
        /* 3. Simulate High Speed Light Vehicle (Infraction) */
        s_data.timestamp_start = k_uptime_get();
        s_data.duration_ms = 225; 
        s_data.timestamp_end = s_data.timestamp_start + 225;
        s_data.axle_count = 2;
        s_data.type = VEHICLE_LIGHT;

        LOG_INF("SIMULATION: Generating Light Vehicle (80 km/h - Infraction!)");
        k_msgq_put(&sensor_msgq, &s_data, K_NO_WAIT);
        
        k_sleep(K_SECONDS(10));

        /* 3b. Simulate Heavy Vehicle in WARNING band (~38 km/h) */
        s_data.timestamp_start = k_uptime_get();
        s_data.duration_ms = 474;
        s_data.timestamp_end = s_data.timestamp_start + 474;
        s_data.axle_count = 3;
        s_data.type = VEHICLE_HEAVY;

        LOG_INF("SIMULATION: Generating Heavy Vehicle (38 km/h - Warning)");
        k_msgq_put(&sensor_msgq, &s_data, K_NO_WAIT);

        k_sleep(K_SECONDS(10));
    }
}

/**
 * @brief Thread Definition for Traffic Simulator
 */
K_THREAD_DEFINE(traffic_sim_tid, 1024, traffic_sim_thread_entry, NULL, NULL, NULL, 8, 0, 0);
```

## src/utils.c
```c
#include <zephyr/kernel.h>
#include <string.h>
#include "common.h"

/**
 * @brief Converts a character to uppercase.
 * @param c The character to convert.
 * @return The uppercase character.
 */
static inline char util_to_upper_char(char c) {
	if (c >= 'a' && c <= 'z') return (char)(c - 'a' + 'A');
	return c;
}

/**
 * @brief Checks if a character is a letter.
 * @param c The character to check.
 * @return True if the character is a letter, false otherwise.
 */
static inline bool util_is_letter(char c) {
	char u = util_to_upper_char(c);
	return (u >= 'A' && u <= 'Z');
}

/**
 * @brief Checks if a character is a digit.
 * @param c The character to check.
 * @return True if the character is a digit, false otherwise.
 */
static inline bool util_is_digit(char c) {
	return (c >= '0' && c <= '9');
}

/**
 * @brief Checks whether a plate matches a symbolic pattern.
 * Pattern tokens:
 *  - 'L': alphabetic character (case-insensitive)
 *  - 'N': numeric character
 *  - any other char: must match literally
 */
static inline bool util_matches_pattern(const char *plate, const char *pattern)
{
	size_t plate_len = strlen(plate);
	size_t pattern_len = strlen(pattern);

	if (plate_len != pattern_len) {
		return false;
	}

	for (size_t i = 0; i < pattern_len; ++i) {
		char token = pattern[i];
		char c = util_to_upper_char(plate[i]);

		if (token == 'L') {
			if (!util_is_letter(c)) {
				return false;
			}
		} else if (token == 'N') {
			if (!util_is_digit(c)) {
				return false;
			}
		} else if (token != c) {
			return false;
		}
	}

	return true;
}

/**
 * @brief Validates a Mercosul plate number.
 * @param plate The plate number to validate.
 * @return True if the plate number is valid, false otherwise.
 */
bool validate_plate(const char *plate) {
	char sanitized[16];
	size_t sanitized_len = 0;

	for (size_t i = 0; plate[i] != '\0'; ++i) {
		char c = plate[i];
		if (c == ' ' || c == '-' || c == '_') {
			continue;
		}
		if (sanitized_len >= ARRAY_SIZE(sanitized) - 1) {
			return false;
		}
		sanitized[sanitized_len++] = c;
	}
	sanitized[sanitized_len] = '\0';

	if (sanitized_len != 7) {
		return false;
	}

	static const char *mercosur_patterns[] = {
		"LLLNLNN", /* Brasil */
		"LLNNNLL", /* Argentina */
		"LLLNNNN", /* Uruguay */
		"LLLLNNN", /* Paraguay cars */
		"NNNLLLL", /* Paraguay motorcycles */
		"LLNNNNN", /* Bolivia */
	};

	for (size_t i = 0; i < ARRAY_SIZE(mercosur_patterns); ++i) {
		if (util_matches_pattern(sanitized, mercosur_patterns[i])) {
			return true;
		}
	}

	return false;
}


/**
 * @brief Calculates the speed in km/h based on the distance and duration.
 * @param distance_mm The distance in millimeters.
 * @param duration_ms The duration in milliseconds.
 * @return The speed in km/h.
 */
uint32_t calculate_speed(uint32_t distance_mm, uint32_t duration_ms) {
    if (duration_ms == 0) return 0;

    return (uint32_t)(((uint64_t)distance_mm * 36) / (duration_ms * 10));
}
```
